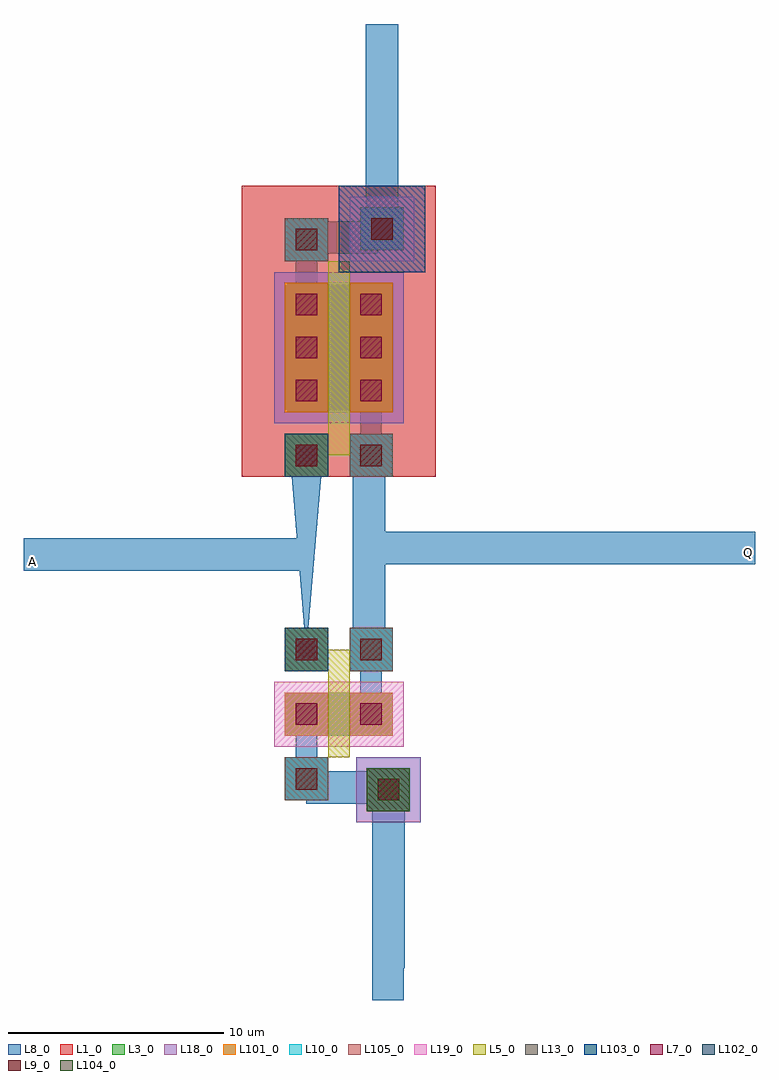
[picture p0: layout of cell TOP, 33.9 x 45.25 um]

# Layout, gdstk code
import gdstk
lib = gdstk.Library(unit=1e-6, precision=1e-07)
def R(c, l, rs):  # rectangles x0, y0, x1, y1
    for r in rs: c.add(gdstk.rectangle(r[:2], r[2:], *l))
L1_0 = (1, 0)
L3_0 = (3, 0)
L5_0 = (5, 0)
L7_0 = (7, 0)
L8_0 = (8, 0)
L9_0 = (9, 0)
L10_0 = (10, 0)
L13_0 = (13, 0)
L18_0 = (18, 0)
L19_0 = (19, 0)
L101_0 = (101, 0)
L102_0 = (102, 0)
L103_0 = (103, 0)
L104_0 = (104, 0)
L105_0 = (105, 0)

dcont = lib.new_cell('dcont')
R(dcont, L3_0, [(-1,-1,1,1)])
R(dcont, L7_0, [(-0.5,-0.5,0.5,0.5)])
R(dcont, L8_0, [(-1,-1,1,1)])
R(dcont, L13_0, [(-0.5,-0.5,0.5,0.5)])
R(dcont, L101_0, [(-1,-1,1,1)])

pcont = lib.new_cell('pcont')
R(pcont, L5_0, [(-1,-1,1,1)])
R(pcont, L7_0, [(-0.5,-0.5,0.5,0.5)])
R(pcont, L8_0, [(-1,-1,1,1)])
R(pcont, L13_0, [(-0.5,-0.5,0.5,0.5)])
R(pcont, L102_0, [(-1,-1,1,1)])

via = lib.new_cell('Via')
R(via, L8_0, [(-1,-1,1,1)])
R(via, L9_0, [(-0.5,-0.5,0.5,0.5)])
R(via, L10_0, [(-1,-1,1,1)])
R(via, L13_0, [(-0.5,-0.5,0.5,0.5)])
R(via, L105_0, [(-1,-1,1,1)])

dcont1 = lib.new_cell('dcont1')
R(dcont1, L3_0, [(-1,-1,1,1)])
R(dcont1, L7_0, [(-0.5,-0.5,0.5,0.5)])
R(dcont1, L8_0, [(-1,-1,1,1)])
R(dcont1, L13_0, [(-0.5,-0.5,0.5,0.5)])
R(dcont1, L101_0, [(-1,-1,1,1)])

nsubcont = lib.new_cell('nsubcont')
R(nsubcont, L1_0, [(-2,-2,2,2)])
R(nsubcont, L19_0, [(-1.5,-1.5,1.5,1.5)])
R(nsubcont, L103_0, [(-2,-2,2,2)])
nsubcont.add(gdstk.Reference(dcont1, (0,0)))

pch_1 = lib.new_cell('Pch$1')
R(pch_1, L1_0, [(-2,0,7,13.5)])
R(pch_1, L3_0, [(0,3,5,9)])
R(pch_1, L18_0, [(-0.5,2.5,5.5,9.5)])
pch_1.add(gdstk.FlexPath([(1,3),(1,9)], 2, ends="flush", simple_path=True, layer=8, datatype=0))  # L8_0
pch_1.add(gdstk.FlexPath([(4,3),(4,9)], 2, ends="flush", simple_path=True, layer=8, datatype=0))  # L8_0
pch_1.add(gdstk.FlexPath([(1,8),(1,11)], 1, ends="flush", simple_path=True, layer=8, datatype=0))  # L8_0
pch_1.add(gdstk.FlexPath([(4,1),(4,4)], 1, ends="flush", simple_path=True, layer=8, datatype=0))  # L8_0
pch_1.add(gdstk.FlexPath([(2.5,3),(2.5,9)], 1, ends=(1, 1), simple_path=True, layer=5, datatype=0))  # L5_0
pch_1.add(gdstk.FlexPath([(1,1.5),(2.5,1.5),(2.5,2)], 1, ends="flush", simple_path=True, layer=5, datatype=0))  # L5_0
pch_1.add(gdstk.Reference(dcont, (1,4)))
pch_1.add(gdstk.Reference(dcont, (1,6)))
pch_1.add(gdstk.Reference(dcont, (1,8)))
pch_1.add(gdstk.Reference(dcont, (4,4)))
pch_1.add(gdstk.Reference(dcont, (4,6)))
pch_1.add(gdstk.Reference(dcont, (4,8)))
pch_1.add(gdstk.Reference(pcont, (1,1)))
pch_1.add(gdstk.Reference(via, (1,1)))
pch_1.add(gdstk.Reference(via, (1,11)))
pch_1.add(gdstk.Reference(via, (4,1)))
pch_1.add(gdstk.Reference(nsubcont, (4.5,11.5)))
pch_1.add(gdstk.Reference(via, (4.5,11.5)))

psubcont = lib.new_cell('psubcont')
R(psubcont, L18_0, [(-1.5,-1.5,1.5,1.5)])
R(psubcont, L104_0, [(-1,-1,1,1)])
psubcont.add(gdstk.Reference(dcont1, (0,0)))

nch = lib.new_cell('Nch')
R(nch, L3_0, [(0,3,5,5)])
R(nch, L19_0, [(-0.5,2.5,5.5,5.5)])
nch.add(gdstk.FlexPath([(1,3),(1,5)], 2, ends="flush", simple_path=True, layer=8, datatype=0))  # L8_0
nch.add(gdstk.FlexPath([(4,3),(4,5)], 2, ends="flush", simple_path=True, layer=8, datatype=0))  # L8_0
nch.add(gdstk.FlexPath([(1,1),(1,4)], 1, ends="flush", simple_path=True, layer=8, datatype=0))  # L8_0
nch.add(gdstk.FlexPath([(4,4),(4,7)], 1, ends="flush", simple_path=True, layer=8, datatype=0))  # L8_0
nch.add(gdstk.FlexPath([(2.5,3),(2.5,5)], 1, ends=(1, 1), simple_path=True, layer=5, datatype=0))  # L5_0
nch.add(gdstk.FlexPath([(1,6.5),(2.5,6.5),(2.5,6)], 1, ends="flush", simple_path=True, layer=5, datatype=0))  # L5_0
nch.add(gdstk.Reference(dcont, (1,4)))
nch.add(gdstk.Reference(dcont, (4,4)))
nch.add(gdstk.Reference(pcont, (1,7)))
nch.add(gdstk.Reference(via, (1,7)))
nch.add(gdstk.Reference(via, (1,1)))
nch.add(gdstk.Reference(via, (4,7)))
nch.add(gdstk.Reference(psubcont, (4.8,0.5)))
nch.add(gdstk.Reference(via, (4.8,0.5)))

top = lib.new_cell('TOP')
top.add(gdstk.FlexPath([(-31.4,1),(-31.4,-8),(-31.4,-8),(-31.4,-7.7)], 1.5, ends="flush", simple_path=True, layer=8, datatype=0))  # L8_0
top.add(gdstk.FlexPath([(-27.9,11.5),(-27.9,21.1)], 1.5, ends="flush", simple_path=True, layer=8, datatype=0))  # L8_0
top.add(gdstk.FlexPath([(-27.6,-14.4),(-27.6,-23.4),(-26.9,-23.4)], 1.5, ends="flush", simple_path=True, layer=8, datatype=0))  # L8_0
top.add(gdstk.FlexPath([(-31.3,11.2),(-28.1,11.2),(-28.1,11.2)], 1.5, ends="flush", simple_path=True, layer=8, datatype=0))  # L8_0
top.add(gdstk.FlexPath([(-28.5,1.2),(-28.5,-8),(-28.5,-8),(-28.5,-8)], 1.5, ends="flush", simple_path=True, layer=8, datatype=0))  # L8_0
top.add(gdstk.FlexPath([(-27.6,-14.3),(-31.4,-14.3)], 1.5, ends="flush", simple_path=True, layer=8, datatype=0))  # L8_0
top.add(gdstk.FlexPath([(-28.8,-3.2),(-10.6,-3.2)], 1.5, ends="flush", simple_path=True, layer=8, datatype=0))  # L8_0
top.add(gdstk.FlexPath([(-31.6,-3.5),(-44.5,-3.5)], 1.5, ends="flush", simple_path=True, layer=8, datatype=0))  # L8_0
top.add(gdstk.Reference(pch_1, (-32.4,0.1)))
top.add(gdstk.Reference(nch, (-32.4,-14.9)))
top.add(gdstk.Label('A', (-44.1,-3.8), layer=8, texttype=0))
top.add(gdstk.Label('Q', (-10.9,-3.4), layer=8, texttype=0))

lib.write_gds('TOP.gds')
